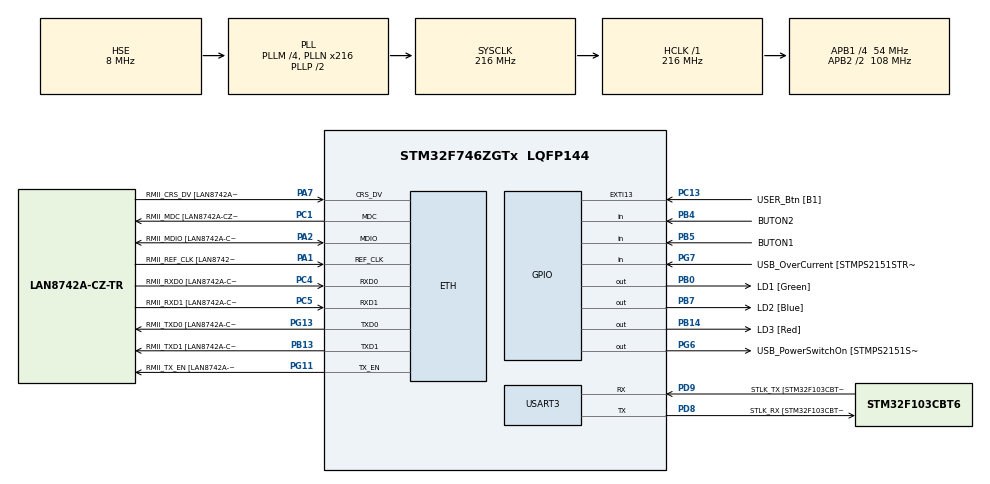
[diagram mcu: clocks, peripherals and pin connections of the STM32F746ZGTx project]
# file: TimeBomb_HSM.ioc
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ETH.MediaInterface=ETH_MEDIA_INTERFACE_RMII
ETH.PHY_Name=LAN8742A_PHY_ADDRESS
ETH.PHY_Value=0
ETH.PhyAddress=0
FREERTOS.Tasks01=defaultTask,0,128,StartDefaultTask,Default,NULL,Dynamic,NULL,NULL
FREERTOS.configCHECK_FOR_STACK_OVERFLOW=2
FREERTOS.configGENERATE_RUN_TIME_STATS=1
FREERTOS.configUSE_IDLE_HOOK=1
FREERTOS.configUSE_MALLOC_FAILED_HOOK=1
FREERTOS.configUSE_NEWLIB_REENTRANT=1
FREERTOS.configUSE_STATS_FORMATTING_FUNCTIONS=1
FREERTOS.configUSE_TICK_HOOK=1
FREERTOS.configUSE_TRACE_FACILITY=1
Mcu.Family=STM32F7
Mcu.Name=STM32F746ZGTx
Mcu.Package=LQFP144
NVIC.EXTI15_10_IRQn=true\:5\:0\:false\:false\:true\:true\:true\:true\:true
NVIC.PriorityGroup=NVIC_PRIORITYGROUP_4
NVIC.TIM1_UP_TIM10_IRQn=true\:15\:0\:false\:false\:true\:false\:false\:true\:true
NVIC.TimeBase=TIM1_UP_TIM10_IRQn
NVIC.TimeBaseIP=TIM1
PA1.GPIO_Label=RMII_REF_CLK [LAN8742A-CZ-TR_REFCLK0]
PA1.Mode=RMII
PA1.Signal=ETH_REF_CLK
PA13.GPIO_Label=TMS
PA13.Mode=Trace_Asynchronous_SW
PA13.Signal=SYS_JTMS-SWDIO
PA14.GPIO_Label=TCK
PA14.Mode=Trace_Asynchronous_SW
PA14.Signal=SYS_JTCK-SWCLK
PA2.GPIO_Label=RMII_MDIO [LAN8742A-CZ-TR_MDIO]
PA2.Mode=RMII
PA2.Signal=ETH_MDIO
PA7.GPIO_Label=RMII_CRS_DV [LAN8742A-CZ-TR_CRS_DV]
PA7.Mode=RMII
PA7.Signal=ETH_CRS_DV
PB0.GPIO_Label=LD1 [Green]
PB0.Signal=GPIO_Output
PB13.GPIO_Label=RMII_TXD1 [LAN8742A-CZ-TR_TXD1]
PB13.Mode=RMII
PB13.Signal=ETH_TXD1
PB14.GPIO_Label=LD3 [Red]
PB14.Signal=GPIO_Output
PB3.GPIO_Label=SW0
PB3.Mode=Trace_Asynchronous_SW
PB3.Signal=SYS_JTDO-SWO
PB4.GPIO_Label=BUTON2
PB4.GPIO_PuPd=GPIO_PULLDOWN
PB4.Signal=GPIO_Input
PB5.GPIO_Label=BUTON1
PB5.GPIO_PuPd=GPIO_PULLDOWN
PB5.Signal=GPIO_Input
PB7.GPIO_Label=LD2 [Blue]
PB7.Signal=GPIO_Output
PC1.GPIO_Label=RMII_MDC [LAN8742A-CZ-TR_MDC]
PC1.Mode=RMII
PC1.Signal=ETH_MDC
PC13.GPIO_Label=USER_Btn [B1]
PC13.GPIO_ModeDefaultEXTI=GPIO_MODE_IT_RISING_FALLING
PC13.GPIO_PuPd=GPIO_PULLDOWN
PC13.Signal=GPXTI13
PC14/OSC32_IN.Mode=LSE-External-Oscillator
PC14/OSC32_IN.Signal=RCC_OSC32_IN
PC15/OSC32_OUT.Mode=LSE-External-Oscillator
PC15/OSC32_OUT.Signal=RCC_OSC32_OUT
PC4.GPIO_Label=RMII_RXD0 [LAN8742A-CZ-TR_RXD0]
PC4.Mode=RMII
PC4.Signal=ETH_RXD0
PC5.GPIO_Label=RMII_RXD1 [LAN8742A-CZ-TR_RXD1]
PC5.Mode=RMII
PC5.Signal=ETH_RXD1
PD8.GPIO_Label=STLK_RX [STM32F103CBT6_PA3]
PD8.Mode=Asynchronous
PD8.Signal=USART3_TX
PD9.GPIO_Label=STLK_TX [STM32F103CBT6_PA2]
PD9.Mode=Asynchronous
PD9.Signal=USART3_RX
PG11.GPIO_Label=RMII_TX_EN [LAN8742A-CZ-TR_TXEN]
PG11.Mode=RMII
PG11.Signal=ETH_TX_EN
PG13.GPIO_Label=RMII_TXD0 [LAN8742A-CZ-TR_TXD0]
PG13.Mode=RMII
PG13.Signal=ETH_TXD0
PG6.GPIO_Label=USB_PowerSwitchOn [STMPS2151STR_EN]
PG6.Signal=GPIO_Output
PG7.GPIO_Label=USB_OverCurrent [STMPS2151STR_FAULT]
PG7.Signal=GPIO_Input
PH0/OSC_IN.GPIO_Label=MCO [STM32F103CBT6_PA8]
PH0/OSC_IN.Mode=HSE-External-Clock-Source
PH0/OSC_IN.Signal=RCC_OSC_IN
PH1/OSC_OUT.Mode=HSE-External-Clock-Source
PH1/OSC_OUT.Signal=RCC_OSC_OUT
ProjectManager.HeapSize=0x200
ProjectManager.StackSize=0x400
ProjectManager.TargetToolchain=STM32CubeIDE
RCC.48MHZClocksFreq_Value=24000000
RCC.AHBFreq_Value=216000000
RCC.APB1CLKDivider=RCC_HCLK_DIV4
RCC.APB1Freq_Value=54000000
RCC.APB1TimFreq_Value=108000000
RCC.APB2CLKDivider=RCC_HCLK_DIV2
RCC.APB2Freq_Value=108000000
RCC.APB2TimCLKDivider=1
RCC.APB2TimFreq_Value=108000000
RCC.CortexFreq_Value=216000000
RCC.HCLKFreq_Value=216000000
RCC.HSE_VALUE=8000000
RCC.HSI_VALUE=16000000
RCC.PLLM=4
RCC.PLLMUL=RCC_PLL_MUL9
RCC.PLLN=216
RCC.PLLQ=9
RCC.PLLSourceVirtual=RCC_PLLSOURCE_HSE
RCC.PRESCALERUSB=RCC_USBCLKSOURCE_PLL_DIV1_5
RCC.SYSCLKFreq_VALUE=216000000
RCC.SYSCLKSource=RCC_SYSCLKSOURCE_PLLCLK
RCC.SYSCLKSourceVirtual=RCC_SYSCLKSOURCE_PLLCLK
RCC.USBFreq_Value=48000000
RCC.VCOOutputFreq_Value=432000000
USART3.VirtualMode-Asynchronous=VM_ASYNC
VP_FREERTOS_VS_CMSIS_V1.Mode=CMSIS_V1
VP_SYS_VS_tim1.Mode=TIM1
board=NUCLEO-F746ZG

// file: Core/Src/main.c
/* USER CODE BEGIN Header */
/**
  ******************************************************************************
  * @file           : main.c
  * @brief          : Main program body
  ******************************************************************************
  * @attention
  *
  * Copyright (c) 2022 STMicroelectronics.
  * All rights reserved.
  *
  * This software is licensed under terms that can be found in the LICENSE file
  * in the root directory of this software component.
  * If no LICENSE file comes with this software, it is provided AS-IS.
  *
  ******************************************************************************
  */
/* USER CODE END Header */
#include "main.h"
#include "cmsis_os.h"

/* USER CODE BEGIN Includes */
#include "stdio.h"
#include "stdlib.h"  /*For malloc function*/
#include "stdbool.h"
#include "retarget.h"
//#include "qpc.h"
#include <TimeBomb.h>

//Q_DEFINE_THIS_FILE

/* USER CODE END Includes */

/* USER CODE BEGIN PD */

#define STACK_SIZE 260

/* The BlinkyButton AO ============================================================*/

StackType_t Stack_TimeBomb[STACK_SIZE]; /*task stack*/
StaticTask_t TimeBombTaskBuffer;
static Event *TimeBomb_queue[10];
static TimeBomb timebomb;
Active *AO_TimeBomb = &timebomb.super;
/* USER CODE END PD */

ETH_HandleTypeDef heth;

UART_HandleTypeDef huart3;

osThreadId defaultTaskHandle;

void SystemClock_Config(void);
static void MX_GPIO_Init(void);
static void MX_ETH_Init(void);
static void MX_USART3_UART_Init(void);
void StartDefaultTask(void const * argument);

/* USER CODE BEGIN PFP */

void Q_onAssert(char const *module, int loc);

/* USER CODE END PFP */

int main(void)
{

  /* MCU Configuration--------------------------------------------------------*/

  /* Reset of all peripherals, Initializes the Flash interface and the Systick. */
  HAL_Init();

  /* Configure the system clock */
  SystemClock_Config();

  /* Initialize all configured peripherals */
  MX_GPIO_Init();
//  MX_ETH_Init();
  MX_USART3_UART_Init();
  /* USER CODE BEGIN 2 */
  RetargetInit(&huart3);

  /* USER CODE END 2 */

  /* Create the thread(s) */
  /* definition and creation of defaultTask */
  osThreadDef(defaultTask, StartDefaultTask, osPriorityNormal, 0, 128);
  defaultTaskHandle = osThreadCreate(osThread(defaultTask), NULL);

  /* USER CODE BEGIN RTOS_THREADS */
  /* add threads, ... */

  TimeBomb_ctor(&timebomb);
  Active_start(AO_TimeBomb,
		  	  configMINIMAL_STACK_SIZE,
			  1,
			  Stack_TimeBomb,
			  &TimeBombTaskBuffer,
			  TimeBomb_queue,
			  sizeof(TimeBomb_queue)/sizeof(TimeBomb_queue[0]));
  /* USER CODE END RTOS_THREADS */

  /* Start scheduler */
  osKernelStart();

  /* We should never get here as control is now taken by the scheduler */
  /* Infinite loop */
  while (1)
  {

  }
}

void SystemClock_Config(void)
{
  RCC_OscInitTypeDef RCC_OscInitStruct = {0};
  RCC_ClkInitTypeDef RCC_ClkInitStruct = {0};

  /** Configure LSE Drive Capability
  */
  HAL_PWR_EnableBkUpAccess();

  /** Configure the main internal regulator output voltage
  */
  __HAL_RCC_PWR_CLK_ENABLE();
  __HAL_PWR_VOLTAGESCALING_CONFIG(PWR_REGULATOR_VOLTAGE_SCALE1);

  /** Initializes the RCC Oscillators according to the specified parameters
  * in the RCC_OscInitTypeDef structure.
  */
  RCC_OscInitStruct.OscillatorType = RCC_OSCILLATORTYPE_HSE;
  RCC_OscInitStruct.HSEState = RCC_HSE_BYPASS;
  RCC_OscInitStruct.PLL.PLLState = RCC_PLL_ON;
  RCC_OscInitStruct.PLL.PLLSource = RCC_PLLSOURCE_HSE;
  RCC_OscInitStruct.PLL.PLLM = 4;
  RCC_OscInitStruct.PLL.PLLN = 216;
  RCC_OscInitStruct.PLL.PLLP = RCC_PLLP_DIV2;
  RCC_OscInitStruct.PLL.PLLQ = 9;
  if (HAL_RCC_OscConfig(&RCC_OscInitStruct) != HAL_OK)
  {
    Error_Handler();
  }

  /** Activate the Over-Drive mode
  */
  if (HAL_PWREx_EnableOverDrive() != HAL_OK)
  {
    Error_Handler();
  }

  /** Initializes the CPU, AHB and APB buses clocks
  */
  RCC_ClkInitStruct.ClockType = RCC_CLOCKTYPE_HCLK|RCC_CLOCKTYPE_SYSCLK
                              |RCC_CLOCKTYPE_PCLK1|RCC_CLOCKTYPE_PCLK2;
  RCC_ClkInitStruct.SYSCLKSource = RCC_SYSCLKSOURCE_PLLCLK;
  RCC_ClkInitStruct.AHBCLKDivider = RCC_SYSCLK_DIV1;
  RCC_ClkInitStruct.APB1CLKDivider = RCC_HCLK_DIV4;
  RCC_ClkInitStruct.APB2CLKDivider = RCC_HCLK_DIV2;

  if (HAL_RCC_ClockConfig(&RCC_ClkInitStruct, FLASH_LATENCY_7) != HAL_OK)
  {
    Error_Handler();
  }
}

static void MX_ETH_Init(void)
{

   static uint8_t MACAddr[6];

  heth.Instance = ETH;
  heth.Init.AutoNegotiation = ETH_AUTONEGOTIATION_ENABLE;
  heth.Init.Speed = ETH_SPEED_100M;
  heth.Init.DuplexMode = ETH_MODE_FULLDUPLEX;
  heth.Init.PhyAddress = LAN8742A_PHY_ADDRESS;
  MACAddr[0] = 0x00;
  MACAddr[1] = 0x80;
  MACAddr[2] = 0xE1;
  MACAddr[3] = 0x00;
  MACAddr[4] = 0x00;
  MACAddr[5] = 0x00;
  heth.Init.MACAddr = &MACAddr[0];
  heth.Init.RxMode = ETH_RXPOLLING_MODE;
  heth.Init.ChecksumMode = ETH_CHECKSUM_BY_HARDWARE;
  heth.Init.MediaInterface = ETH_MEDIA_INTERFACE_RMII;

  if (HAL_ETH_Init(&heth) != HAL_OK)
  {
    Error_Handler();
  }

}

static void MX_USART3_UART_Init(void)
{

  huart3.Instance = USART3;
  huart3.Init.BaudRate = 115200;
  huart3.Init.WordLength = UART_WORDLENGTH_8B;
  huart3.Init.StopBits = UART_STOPBITS_1;
  huart3.Init.Parity = UART_PARITY_NONE;
  huart3.Init.Mode = UART_MODE_TX_RX;
  huart3.Init.HwFlowCtl = UART_HWCONTROL_NONE;
  huart3.Init.OverSampling = UART_OVERSAMPLING_16;
  huart3.Init.OneBitSampling = UART_ONE_BIT_SAMPLE_DISABLE;
  huart3.AdvancedInit.AdvFeatureInit = UART_ADVFEATURE_NO_INIT;
  if (HAL_UART_Init(&huart3) != HAL_OK)
  {
    Error_Handler();
  }

}

static void MX_GPIO_Init(void)
{
  GPIO_InitTypeDef GPIO_InitStruct = {0};

  /* GPIO Ports Clock Enable */
  __HAL_RCC_GPIOC_CLK_ENABLE();
  __HAL_RCC_GPIOH_CLK_ENABLE();
  __HAL_RCC_GPIOA_CLK_ENABLE();
  __HAL_RCC_GPIOB_CLK_ENABLE();
  __HAL_RCC_GPIOD_CLK_ENABLE();
  __HAL_RCC_GPIOG_CLK_ENABLE();

  /*Configure GPIO pin Output Level */
  HAL_GPIO_WritePin(GPIOB, LD1_Pin|LD3_Pin|LD2_Pin, GPIO_PIN_RESET);

  /*Configure GPIO pin Output Level */
  HAL_GPIO_WritePin(USB_PowerSwitchOn_GPIO_Port, USB_PowerSwitchOn_Pin, GPIO_PIN_RESET);

  /*Configure GPIO pin : USER_Btn_Pin */
  GPIO_InitStruct.Pin = USER_Btn_Pin;
  GPIO_InitStruct.Mode = GPIO_MODE_IT_RISING_FALLING;
  GPIO_InitStruct.Pull = GPIO_PULLDOWN;
  HAL_GPIO_Init(USER_Btn_GPIO_Port, &GPIO_InitStruct);

  /*Configure GPIO pins : LD1_Pin LD3_Pin LD2_Pin */
  GPIO_InitStruct.Pin = LD1_Pin|LD3_Pin|LD2_Pin;
  GPIO_InitStruct.Mode = GPIO_MODE_OUTPUT_PP;
  GPIO_InitStruct.Pull = GPIO_NOPULL;
  GPIO_InitStruct.Speed = GPIO_SPEED_FREQ_LOW;
  HAL_GPIO_Init(GPIOB, &GPIO_InitStruct);

  /*Configure GPIO pin : USB_PowerSwitchOn_Pin */
  GPIO_InitStruct.Pin = USB_PowerSwitchOn_Pin;
  GPIO_InitStruct.Mode = GPIO_MODE_OUTPUT_PP;
  GPIO_InitStruct.Pull = GPIO_NOPULL;
  GPIO_InitStruct.Speed = GPIO_SPEED_FREQ_LOW;
  HAL_GPIO_Init(USB_PowerSwitchOn_GPIO_Port, &GPIO_InitStruct);

  /*Configure GPIO pin : USB_OverCurrent_Pin */
  GPIO_InitStruct.Pin = USB_OverCurrent_Pin;
  GPIO_InitStruct.Mode = GPIO_MODE_INPUT;
  GPIO_InitStruct.Pull = GPIO_NOPULL;
  HAL_GPIO_Init(USB_OverCurrent_GPIO_Port, &GPIO_InitStruct);

  /*Configure GPIO pins : BUTON2_Pin BUTON1_Pin */
  GPIO_InitStruct.Pin = BUTON2_Pin|BUTON1_Pin;
  GPIO_InitStruct.Mode = GPIO_MODE_INPUT;
  GPIO_InitStruct.Pull = GPIO_PULLDOWN;
  HAL_GPIO_Init(GPIOB, &GPIO_InitStruct);

  /* EXTI interrupt init*/
  HAL_NVIC_SetPriority(EXTI15_10_IRQn, 5, 0);
  HAL_NVIC_EnableIRQ(EXTI15_10_IRQn);

}

/* USER CODE BEGIN 4 */

void Q_onAssert(char const *module, int loc) {
    /* TBD: damage control */
    (void)module; /* avoid the "unused parameter" compiler warning */
    (void)loc;    /* avoid the "unused parameter" compiler warning */
    NVIC_SystemReset();
}

void vApplicationStackOverflowHook( TaskHandle_t xTask,
                                    signed char *pcTaskName ){
	__NOP();
	Error_Handler();
}

void vApplicationTickHook( void ){
	App_TimeTickHook();
	__NOP();
}

void vApplicationMallocFailedHook( void ){
	__NOP();
	Error_Handler();
}

/* USER CODE END 4 */

void StartDefaultTask(void const * argument)
{
  for(;;)
  {
    osDelay(1);
  }
}

void HAL_TIM_PeriodElapsedCallback(TIM_HandleTypeDef *htim)
{
  if (htim->Instance == TIM1) {
    HAL_IncTick();
  }
}

void Error_Handler(void)
{
  __disable_irq();
  while (1)
  {
  }
}
